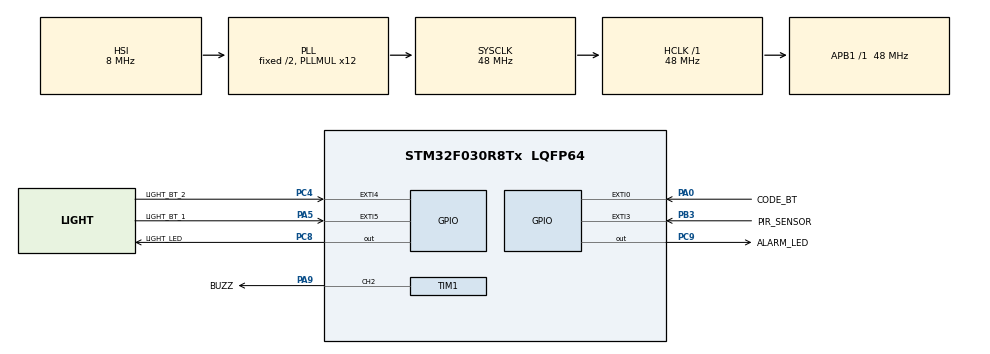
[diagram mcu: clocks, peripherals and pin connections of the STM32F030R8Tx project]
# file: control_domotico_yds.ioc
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FREERTOS.Tasks01=defaultTask,0,128,StartDefaultTask,Default,NULL,Dynamic,NULL,NULL;codeTask,-3,128,StartCodeTask,Default,NULL,Dynamic,NULL,NULL;alarmTask,-3,128,StartAlarmTask,Default,NULL,Dynamic,NULL,NULL;lightsTask,-3,128,StartLightsTask,Default,NULL,Dynamic,NULL,NULL
FREERTOS.configTOTAL_HEAP_SIZE=5000
FREERTOS.configUSE_TIMERS=0
Mcu.Family=STM32F0
Mcu.Name=STM32F030R8Tx
Mcu.Package=LQFP64
NVIC.EXTI0_1_IRQn=true\:3\:0\:false\:false\:true\:true\:true
NVIC.EXTI2_3_IRQn=true\:3\:0\:false\:false\:true\:true\:true
NVIC.EXTI4_15_IRQn=true\:3\:0\:false\:false\:true\:true\:true
NVIC.TIM14_IRQn=true\:3\:0\:false\:false\:true\:true\:true
NVIC.TIM16_IRQn=true\:3\:0\:false\:false\:true\:true\:true
NVIC.TIM17_IRQn=true\:3\:0\:false\:false\:true\:true\:true
NVIC.TIM1_BRK_UP_TRG_COM_IRQn=true\:3\:0\:false\:false\:true\:true\:true
NVIC.TIM1_CC_IRQn=true\:3\:0\:false\:false\:true\:true\:true
NVIC.TIM3_IRQn=true\:3\:0\:false\:false\:true\:true\:true
NVIC.TIM6_IRQn=true\:3\:0\:false\:false\:true\:true\:true
PA0.GPIO_Label=CODE_BT
PA0.GPIO_ModeDefaultEXTI=GPIO_MODE_IT_RISING
PA0.Signal=GPXTI0
PA13.GPIO_Label=SWDIO
PA13.Signal=SYS_SWDIO
PA14.GPIO_Label=SWCLK
PA14.Signal=SYS_SWCLK
PA5.GPIO_Label=LIGHT_BT_1
PA5.GPIO_ModeDefaultEXTI=GPIO_MODE_IT_FALLING
PA5.GPIO_PuPd=GPIO_PULLUP
PA5.Signal=GPXTI5
PA9.GPIO_Label=BUZZ
PA9.Signal=S_TIM1_CH2
PB3.GPIO_Label=PIR_SENSOR
PB3.GPIO_ModeDefaultEXTI=GPIO_MODE_IT_RISING
PB3.GPIO_PuPd=GPIO_PULLDOWN
PB3.Signal=GPXTI3
PC4.GPIO_Label=LIGHT_BT_2
PC4.GPIO_PuPd=GPIO_PULLUP
PC4.Signal=GPXTI4
PC8.GPIO_Label=LIGHT_LED
PC8.Signal=GPIO_Output
PC9.GPIO_Label=ALARM_LED
PC9.Signal=GPIO_Output
ProjectManager.HeapSize=0x200
ProjectManager.StackSize=0x400
ProjectManager.TargetToolchain=SW4STM32
RCC.AHBFreq_Value=48000000
RCC.APB1Freq_Value=48000000
RCC.APB1TimFreq_Value=48000000
RCC.HCLKFreq_Value=48000000
RCC.PLLMUL=RCC_PLL_MUL12
RCC.SYSCLKFreq_VALUE=48000000
RCC.SYSCLKSource=RCC_SYSCLKSOURCE_PLLCLK
SH.S_TIM1_CH2.0=TIM1_CH2,PWM Generation2 CH2
TIM1.Channel-PWM\ Generation2\ CH2=TIM_CHANNEL_2
TIM1.Period=10
TIM1.Prescaler=4799
TIM1.Pulse-PWM\ Generation2\ CH2=5
TIM14.AutoReloadPreload=TIM_AUTORELOAD_PRELOAD_ENABLE
TIM14.Period=200
TIM14.Prescaler=47999
TIM16.Period=2999
TIM16.Prescaler=47999
TIM17.Period=9
TIM17.Prescaler=47999
TIM17.RepetitionCounter=19
TIM3.AutoReloadPreload=TIM_AUTORELOAD_PRELOAD_DISABLE
TIM3.Period=1999
TIM3.Prescaler=47999
TIM6.AutoReloadPreload=TIM_AUTORELOAD_PRELOAD_DISABLE
TIM6.Period=29
TIM6.Prescaler=47999
VP_FREERTOS_VS_ENABLE.Mode=Enabled
VP_TIM14_VS_ClockSourceINT.Mode=Enable_Timer
VP_TIM16_VS_ClockSourceINT.Mode=Enable_Timer
VP_TIM17_VS_ClockSourceINT.Mode=Enable_Timer
VP_TIM3_VS_ClockSourceINT.Mode=Internal
VP_TIM3_VS_OPM.Mode=OPM_bit
VP_TIM6_VS_ClockSourceINT.Mode=Enable_Timer
board=STM32F0308-DISCO

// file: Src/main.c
/**
  ******************************************************************************
  * @file           : main.c
  * @brief          : Main program body
  ******************************************************************************
  * This notice applies to any and all portions of this file
  * that are not between comment pairs USER CODE BEGIN and
  * USER CODE END. Other portions of this file, whether
  * inserted by the user or by software development tools
  * are owned by their respective copyright owners.
  *
  * Copyright (c) 2018 STMicroelectronics International N.V.
  * All rights reserved.
  *
  * Redistribution and use in source and binary forms, with or without
  * modification, are permitted, provided that the following conditions are met:
  *
  * 1. Redistribution of source code must retain the above copyright notice,
  *    this list of conditions and the following disclaimer.
  * 2. Redistributions in binary form must reproduce the above copyright notice,
  *    this list of conditions and the following disclaimer in the documentation
  *    and/or other materials provided with the distribution.
  * 3. Neither the name of STMicroelectronics nor the names of other
  *    contributors to this software may be used to endorse or promote products
  *    derived from this software without specific written permission.
  * 4. This software, including modifications and/or derivative works of this
  *    software, must execute solely and exclusively on microcontroller or
  *    microprocessor devices manufactured by or for STMicroelectronics.
  * 5. Redistribution and use of this software other than as permitted under
  *    this license is void and will automatically terminate your rights under
  *    this license.
  *
  * THIS SOFTWARE IS PROVIDED BY STMICROELECTRONICS AND CONTRIBUTORS "AS IS"
  * AND ANY EXPRESS, IMPLIED OR STATUTORY WARRANTIES, INCLUDING, BUT NOT
  * LIMITED TO, THE IMPLIED WARRANTIES OF MERCHANTABILITY, FITNESS FOR A
  * PARTICULAR PURPOSE AND NON-INFRINGEMENT OF THIRD PARTY INTELLECTUAL PROPERTY
  * RIGHTS ARE DISCLAIMED TO THE FULLEST EXTENT PERMITTED BY LAW. IN NO EVENT
  * SHALL STMICROELECTRONICS OR CONTRIBUTORS BE LIABLE FOR ANY DIRECT, INDIRECT,
  * INCIDENTAL, SPECIAL, EXEMPLARY, OR CONSEQUENTIAL DAMAGES (INCLUDING, BUT NOT
  * LIMITED TO, PROCUREMENT OF SUBSTITUTE GOODS OR SERVICES; LOSS OF USE, DATA,
  * OR PROFITS; OR BUSINESS INTERRUPTION) HOWEVER CAUSED AND ON ANY THEORY OF
  * LIABILITY, WHETHER IN CONTRACT, STRICT LIABILITY, OR TORT (INCLUDING
  * NEGLIGENCE OR OTHERWISE) ARISING IN ANY WAY OUT OF THE USE OF THIS SOFTWARE,
  * EVEN IF ADVISED OF THE POSSIBILITY OF SUCH DAMAGE.
  *
  ******************************************************************************
  */
#include "main.h"
#include "stm32f0xx_hal.h"
#include "cmsis_os.h"

/* USER CODE BEGIN Includes */
#include "fsm.h"
#include "lights_fsm.h"
#include "alarm_fsm.h"
#include "code_fsm.h"

/* USER CODE END Includes */

TIM_HandleTypeDef htim1;
TIM_HandleTypeDef htim3;
TIM_HandleTypeDef htim6;
TIM_HandleTypeDef htim14;
TIM_HandleTypeDef htim16;
TIM_HandleTypeDef htim17;

osThreadId defaultTaskHandle;
osThreadId codeTaskHandle;
osThreadId alarmTaskHandle;
osThreadId lightsTaskHandle;

/* USER CODE BEGIN PV */
/* Private variables ---------------------------------------------------------*/
uint8_t system_flags = 0x00;
fsm_t* alarm_fsm;
fsm_t* light_fsm;
fsm_t*  code_fsm;
/* USER CODE END PV */

void SystemClock_Config(void);
static void MX_GPIO_Init(void);
static void MX_TIM1_Init(void);
static void MX_TIM6_Init(void);
static void MX_TIM14_Init(void);
static void MX_TIM16_Init(void);
static void MX_TIM17_Init(void);
static void MX_TIM3_Init(void);
void StartDefaultTask(void const * argument);
void StartCodeTask(void const * argument);
void StartAlarmTask(void const * argument);
void StartLightsTask(void const * argument);
void HAL_TIM_MspPostInit(TIM_HandleTypeDef *htim);

/* USER CODE BEGIN PFP */
/* Private function prototypes -----------------------------------------------*/

/* USER CODE END PFP */

int main(void)
{

  /* MCU Configuration----------------------------------------------------------*/

  /* Reset of all peripherals, Initializes the Flash interface and the Systick. */
  HAL_Init();

  /* Configure the system clock */
  SystemClock_Config();

  /* Initialize all configured peripherals */
  MX_GPIO_Init();
  MX_TIM1_Init();
  MX_TIM6_Init();
  MX_TIM14_Init();
  MX_TIM16_Init();
  MX_TIM17_Init();
  MX_TIM3_Init();
  /* USER CODE BEGIN 2 */
  alarm_fsm =   new_alarm_fsm();
  light_fsm =  new_lights_fsm();
  code_fsm =    new_code_fsm();
  alarm_code[0] = 1;
  alarm_code[1] = 2;
  alarm_code[2] = 3;

 for (int i = 0; i < 3; i++)
 	code_in[i] = 0;

  digit_count = 0;
  bt_timer_timeout = 0;
  /* USER CODE END 2 */

  /* Create the thread(s) */
  /* definition and creation of defaultTask */
  osThreadDef(defaultTask, StartDefaultTask, osPriorityNormal, 0, 128);
  defaultTaskHandle = osThreadCreate(osThread(defaultTask), NULL);

  /* definition and creation of codeTask */
  osThreadDef(codeTask, StartCodeTask, osPriorityIdle, 0, 128);
  codeTaskHandle = osThreadCreate(osThread(codeTask), NULL);

  /* definition and creation of alarmTask */
  osThreadDef(alarmTask, StartAlarmTask, osPriorityIdle, 0, 128);
  alarmTaskHandle = osThreadCreate(osThread(alarmTask), NULL);

  /* definition and creation of lightsTask */
  osThreadDef(lightsTask, StartLightsTask, osPriorityIdle, 0, 128);
  lightsTaskHandle = osThreadCreate(osThread(lightsTask), NULL);

  /* Start scheduler */
  osKernelStart();

  /* We should never get here as control is now taken by the scheduler */

  /* Infinite loop */
  while (1)
  {

  }

}

void SystemClock_Config(void)
{

  RCC_OscInitTypeDef RCC_OscInitStruct;
  RCC_ClkInitTypeDef RCC_ClkInitStruct;

    /**Initializes the CPU, AHB and APB busses clocks
    */
  RCC_OscInitStruct.OscillatorType = RCC_OSCILLATORTYPE_HSI;
  RCC_OscInitStruct.HSIState = RCC_HSI_ON;
  RCC_OscInitStruct.HSICalibrationValue = 16;
  RCC_OscInitStruct.PLL.PLLState = RCC_PLL_ON;
  RCC_OscInitStruct.PLL.PLLSource = RCC_PLLSOURCE_HSI;
  RCC_OscInitStruct.PLL.PLLMUL = RCC_PLL_MUL12;
  RCC_OscInitStruct.PLL.PREDIV = RCC_PREDIV_DIV1;
  if (HAL_RCC_OscConfig(&RCC_OscInitStruct) != HAL_OK)
  {
    _Error_Handler(__FILE__, __LINE__);
  }

    /**Initializes the CPU, AHB and APB busses clocks
    */
  RCC_ClkInitStruct.ClockType = RCC_CLOCKTYPE_HCLK|RCC_CLOCKTYPE_SYSCLK
                              |RCC_CLOCKTYPE_PCLK1;
  RCC_ClkInitStruct.SYSCLKSource = RCC_SYSCLKSOURCE_PLLCLK;
  RCC_ClkInitStruct.AHBCLKDivider = RCC_SYSCLK_DIV1;
  RCC_ClkInitStruct.APB1CLKDivider = RCC_HCLK_DIV1;

  if (HAL_RCC_ClockConfig(&RCC_ClkInitStruct, FLASH_LATENCY_1) != HAL_OK)
  {
    _Error_Handler(__FILE__, __LINE__);
  }

    /**Configure the Systick interrupt time
    */
  HAL_SYSTICK_Config(HAL_RCC_GetHCLKFreq()/1000);

    /**Configure the Systick
    */
  HAL_SYSTICK_CLKSourceConfig(SYSTICK_CLKSOURCE_HCLK);

  /* SysTick_IRQn interrupt configuration */
  HAL_NVIC_SetPriority(SysTick_IRQn, 3, 0);
}

/* TIM1 init function */
static void MX_TIM1_Init(void)
{

  TIM_MasterConfigTypeDef sMasterConfig;
  TIM_OC_InitTypeDef sConfigOC;
  TIM_BreakDeadTimeConfigTypeDef sBreakDeadTimeConfig;

  htim1.Instance = TIM1;
  htim1.Init.Prescaler = 4799;
  htim1.Init.CounterMode = TIM_COUNTERMODE_UP;
  htim1.Init.Period = 10;
  htim1.Init.ClockDivision = TIM_CLOCKDIVISION_DIV1;
  htim1.Init.RepetitionCounter = 0;
  htim1.Init.AutoReloadPreload = TIM_AUTORELOAD_PRELOAD_DISABLE;
  if (HAL_TIM_PWM_Init(&htim1) != HAL_OK)
  {
    _Error_Handler(__FILE__, __LINE__);
  }

  sMasterConfig.MasterOutputTrigger = TIM_TRGO_RESET;
  sMasterConfig.MasterSlaveMode = TIM_MASTERSLAVEMODE_DISABLE;
  if (HAL_TIMEx_MasterConfigSynchronization(&htim1, &sMasterConfig) != HAL_OK)
  {
    _Error_Handler(__FILE__, __LINE__);
  }

  sConfigOC.OCMode = TIM_OCMODE_PWM1;
  sConfigOC.Pulse = 5;
  sConfigOC.OCPolarity = TIM_OCPOLARITY_HIGH;
  sConfigOC.OCNPolarity = TIM_OCNPOLARITY_HIGH;
  sConfigOC.OCFastMode = TIM_OCFAST_DISABLE;
  sConfigOC.OCIdleState = TIM_OCIDLESTATE_RESET;
  sConfigOC.OCNIdleState = TIM_OCNIDLESTATE_RESET;
  if (HAL_TIM_PWM_ConfigChannel(&htim1, &sConfigOC, TIM_CHANNEL_2) != HAL_OK)
  {
    _Error_Handler(__FILE__, __LINE__);
  }

  sBreakDeadTimeConfig.OffStateRunMode = TIM_OSSR_DISABLE;
  sBreakDeadTimeConfig.OffStateIDLEMode = TIM_OSSI_DISABLE;
  sBreakDeadTimeConfig.LockLevel = TIM_LOCKLEVEL_OFF;
  sBreakDeadTimeConfig.DeadTime = 0;
  sBreakDeadTimeConfig.BreakState = TIM_BREAK_DISABLE;
  sBreakDeadTimeConfig.BreakPolarity = TIM_BREAKPOLARITY_HIGH;
  sBreakDeadTimeConfig.AutomaticOutput = TIM_AUTOMATICOUTPUT_DISABLE;
  if (HAL_TIMEx_ConfigBreakDeadTime(&htim1, &sBreakDeadTimeConfig) != HAL_OK)
  {
    _Error_Handler(__FILE__, __LINE__);
  }

  HAL_TIM_MspPostInit(&htim1);

}

/* TIM3 init function */
static void MX_TIM3_Init(void)
{

  TIM_ClockConfigTypeDef sClockSourceConfig;
  TIM_MasterConfigTypeDef sMasterConfig;

  htim3.Instance = TIM3;
  htim3.Init.Prescaler = 47999;
  htim3.Init.CounterMode = TIM_COUNTERMODE_UP;
  htim3.Init.Period = 1999;
  htim3.Init.ClockDivision = TIM_CLOCKDIVISION_DIV1;
  htim3.Init.AutoReloadPreload = TIM_AUTORELOAD_PRELOAD_DISABLE;
  if (HAL_TIM_Base_Init(&htim3) != HAL_OK)
  {
    _Error_Handler(__FILE__, __LINE__);
  }

  sClockSourceConfig.ClockSource = TIM_CLOCKSOURCE_INTERNAL;
  if (HAL_TIM_ConfigClockSource(&htim3, &sClockSourceConfig) != HAL_OK)
  {
    _Error_Handler(__FILE__, __LINE__);
  }

  if (HAL_TIM_OnePulse_Init(&htim3, TIM_OPMODE_SINGLE) != HAL_OK)
  {
    _Error_Handler(__FILE__, __LINE__);
  }

  sMasterConfig.MasterOutputTrigger = TIM_TRGO_RESET;
  sMasterConfig.MasterSlaveMode = TIM_MASTERSLAVEMODE_DISABLE;
  if (HAL_TIMEx_MasterConfigSynchronization(&htim3, &sMasterConfig) != HAL_OK)
  {
    _Error_Handler(__FILE__, __LINE__);
  }

}

/* TIM6 init function */
static void MX_TIM6_Init(void)
{

  htim6.Instance = TIM6;
  htim6.Init.Prescaler = 47999;
  htim6.Init.CounterMode = TIM_COUNTERMODE_UP;
  htim6.Init.Period = 29;
  htim6.Init.AutoReloadPreload = TIM_AUTORELOAD_PRELOAD_DISABLE;
  if (HAL_TIM_Base_Init(&htim6) != HAL_OK)
  {
    _Error_Handler(__FILE__, __LINE__);
  }

}

/* TIM14 init function */
static void MX_TIM14_Init(void)
{

  htim14.Instance = TIM14;
  htim14.Init.Prescaler = 47999;
  htim14.Init.CounterMode = TIM_COUNTERMODE_UP;
  htim14.Init.Period = 200;
  htim14.Init.ClockDivision = TIM_CLOCKDIVISION_DIV1;
  htim14.Init.AutoReloadPreload = TIM_AUTORELOAD_PRELOAD_ENABLE;
  if (HAL_TIM_Base_Init(&htim14) != HAL_OK)
  {
    _Error_Handler(__FILE__, __LINE__);
  }

}

/* TIM16 init function */
static void MX_TIM16_Init(void)
{

  htim16.Instance = TIM16;
  htim16.Init.Prescaler = 47999;
  htim16.Init.CounterMode = TIM_COUNTERMODE_UP;
  htim16.Init.Period = 2999;
  htim16.Init.ClockDivision = TIM_CLOCKDIVISION_DIV1;
  htim16.Init.RepetitionCounter = 0;
  htim16.Init.AutoReloadPreload = TIM_AUTORELOAD_PRELOAD_DISABLE;
  if (HAL_TIM_Base_Init(&htim16) != HAL_OK)
  {
    _Error_Handler(__FILE__, __LINE__);
  }

}

/* TIM17 init function */
static void MX_TIM17_Init(void)
{

  htim17.Instance = TIM17;
  htim17.Init.Prescaler = 47999;
  htim17.Init.CounterMode = TIM_COUNTERMODE_UP;
  htim17.Init.Period = 9;
  htim17.Init.ClockDivision = TIM_CLOCKDIVISION_DIV1;
  htim17.Init.RepetitionCounter = 19;
  htim17.Init.AutoReloadPreload = TIM_AUTORELOAD_PRELOAD_DISABLE;
  if (HAL_TIM_Base_Init(&htim17) != HAL_OK)
  {
    _Error_Handler(__FILE__, __LINE__);
  }

}

/** Configure pins as
        * Analog
        * Input
        * Output
        * EVENT_OUT
        * EXTI
*/
static void MX_GPIO_Init(void)
{

  GPIO_InitTypeDef GPIO_InitStruct;

  /* GPIO Ports Clock Enable */
  __HAL_RCC_GPIOA_CLK_ENABLE();
  __HAL_RCC_GPIOC_CLK_ENABLE();
  __HAL_RCC_GPIOB_CLK_ENABLE();

  /*Configure GPIO pin Output Level */
  HAL_GPIO_WritePin(GPIOC, LIGHT_LED_Pin|ALARM_LED_Pin, GPIO_PIN_RESET);

  /*Configure GPIO pin : CODE_BT_Pin */
  GPIO_InitStruct.Pin = CODE_BT_Pin;
  GPIO_InitStruct.Mode = GPIO_MODE_IT_RISING;
  GPIO_InitStruct.Pull = GPIO_NOPULL;
  HAL_GPIO_Init(CODE_BT_GPIO_Port, &GPIO_InitStruct);

  /*Configure GPIO pin : LIGHT_BT_1_Pin */
  GPIO_InitStruct.Pin = LIGHT_BT_1_Pin;
  GPIO_InitStruct.Mode = GPIO_MODE_IT_FALLING;
  GPIO_InitStruct.Pull = GPIO_PULLUP;
  HAL_GPIO_Init(LIGHT_BT_1_GPIO_Port, &GPIO_InitStruct);

  /*Configure GPIO pin : LIGHT_BT_2_Pin */
  GPIO_InitStruct.Pin = LIGHT_BT_2_Pin;
  GPIO_InitStruct.Mode = GPIO_MODE_IT_RISING;
  GPIO_InitStruct.Pull = GPIO_PULLUP;
  HAL_GPIO_Init(LIGHT_BT_2_GPIO_Port, &GPIO_InitStruct);

  /*Configure GPIO pins : LIGHT_LED_Pin ALARM_LED_Pin */
  GPIO_InitStruct.Pin = LIGHT_LED_Pin|ALARM_LED_Pin;
  GPIO_InitStruct.Mode = GPIO_MODE_OUTPUT_PP;
  GPIO_InitStruct.Pull = GPIO_NOPULL;
  GPIO_InitStruct.Speed = GPIO_SPEED_FREQ_LOW;
  HAL_GPIO_Init(GPIOC, &GPIO_InitStruct);

  /*Configure GPIO pin : PIR_SENSOR_Pin */
  GPIO_InitStruct.Pin = PIR_SENSOR_Pin;
  GPIO_InitStruct.Mode = GPIO_MODE_IT_RISING;
  GPIO_InitStruct.Pull = GPIO_PULLDOWN;
  HAL_GPIO_Init(PIR_SENSOR_GPIO_Port, &GPIO_InitStruct);

  /* EXTI interrupt init*/
  HAL_NVIC_SetPriority(EXTI0_1_IRQn, 3, 0);
  HAL_NVIC_EnableIRQ(EXTI0_1_IRQn);

  HAL_NVIC_SetPriority(EXTI2_3_IRQn, 3, 0);
  HAL_NVIC_EnableIRQ(EXTI2_3_IRQn);

  HAL_NVIC_SetPriority(EXTI4_15_IRQn, 3, 0);
  HAL_NVIC_EnableIRQ(EXTI4_15_IRQn);

}

/* USER CODE BEGIN 4 */
void HAL_TIM_PeriodElapsedCallback(TIM_HandleTypeDef *htim){

	if(htim->Instance == TIM3){
		bt_timer_timeout = 1;
	}
	if(htim->Instance == TIM16){

		system_flags |= TIMER_FLAG;
	}
	if (htim->Instance == TIM6){ // debounce control luz

		system_flags |= LIGHT_FLAG;
		HAL_TIM_Base_Stop_IT(&htim6);
	}
	if (htim->Instance == TIM17){ // debounce pulsador armado
		system_flags |= BUTTON_FLAG;
		HAL_TIM_Base_Stop_IT(&htim17);
	}
	if (htim->Instance == TIM14){

		system_flags ^= BUZZ_FLAG;
		HAL_GPIO_TogglePin(ALARM_LED_GPIO_Port,ALARM_LED_Pin);

		if ( (__CHECK_FLAG(system_flags,BUZZ_FLAG)) )
			HAL_TIM_PWM_Start(&htim1,TIM_CHANNEL_2);
		else
			HAL_TIM_PWM_Stop(&htim1,TIM_CHANNEL_2);
	}
}

void HAL_GPIO_EXTI_Callback(uint16_t GPIO_Pin){

	if (GPIO_Pin == LIGHT_BT_1_Pin || GPIO_Pin == LIGHT_BT_2_Pin) {
		HAL_TIM_Base_Start_IT(&htim6);
	}
	if (GPIO_Pin == CODE_BT_Pin) {
		HAL_TIM_Base_Start_IT(&htim17);
	}
	if (GPIO_Pin == PIR_SENSOR_Pin){

		if (__CHECK_FLAG(system_flags,ALARM_FLAG)) {
			system_flags |= PIR_FLAG;
		}

	}
}
/* USER CODE END 4 */

/* StartDefaultTask function */
void StartDefaultTask(void const * argument)
{

  for(;;)
  {
    osDelay(1);
  }
}

/* StartCodeTask function */
void StartCodeTask(void const * argument)
{
  /* USER CODE BEGIN StartCodeTask */
  /* Infinite loop */
  for(;;)
  {
	  fsm_fire(code_fsm);
    osDelay(1);
  }
  /* USER CODE END StartCodeTask */
}

/* StartAlarmTask function */
void StartAlarmTask(void const * argument)
{
  /* USER CODE BEGIN StartAlarmTask */
  /* Infinite loop */
  for(;;)
  {
	  fsm_fire(alarm_fsm);
    osDelay(1);
  }
  /* USER CODE END StartAlarmTask */
}

/* StartLightsTask function */
void StartLightsTask(void const * argument)
{
  /* USER CODE BEGIN StartLightsTask */
  /* Infinite loop */
  for(;;)
  {
    if(alarm_fsm->current_state == ALM_DISARMED){
    	fsm_fire(light_fsm);
    }

	osDelay(1);
  }
  /* USER CODE END StartLightsTask */
}

void _Error_Handler(char *file, int line)
{
  while(1)
  {
  }
}

/************************ (C) COPYRIGHT STMicroelectronics *****END OF FILE****/
